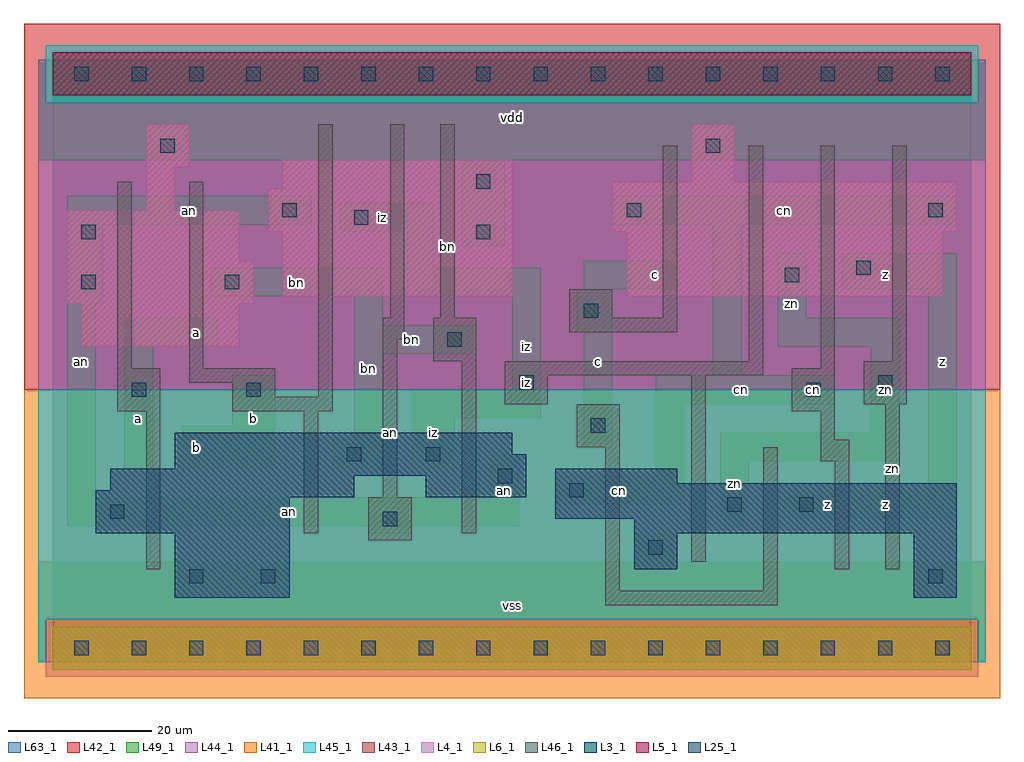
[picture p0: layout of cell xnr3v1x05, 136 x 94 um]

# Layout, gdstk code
import gdstk
lib = gdstk.Library(unit=1e-6, precision=1e-09)
def R(c, l, rs):  # rectangles x0, y0, x1, y1
    for r in rs: c.add(gdstk.rectangle(r[:2], r[2:], *l))
def A(c, l, x, y, w, h, nx, ny, dx, dy):  # array of equal rectangles
    R(c, l, [(x+i*dx, y+j*dy, x+i*dx+w, y+j*dy+h) for i in range(nx) for j in range(ny)])
L3_1 = (3, 1)
L4_1 = (4, 1)
L5_1 = (5, 1)
L6_1 = (6, 1)
L25_1 = (25, 1)
L41_1 = (41, 1)
L42_1 = (42, 1)
L43_1 = (43, 1)
L44_1 = (44, 1)
L45_1 = (45, 1)
L46_1 = (46, 1)
L49_1 = (49, 1)
L63_1 = (63, 1)

xnr3v1x05 = lib.new_cell('xnr3v1x05')
R(xnr3v1x05, L3_1, [(17,7,33,16), (120,7,126,16), (81,11,87,16), (6,16,33,21), (81,16,126,18), (70,18,126,23), (6,21,42,22), (52,21,66,24), (8,22,42,24), (70,23,87,25), (8,24,66,25), (17,25,66,27), (17,27,64,30)])
R(xnr3v1x05, L4_1, [(4,42,26,48), (2,48,28,54), (32,49,64,58), (80,49,124,58), (2,54,26,61), (30,58,64,64), (78,58,126,65), (13,61,17,67), (32,64,64,68), (89,65,95,73), (13,67,19,73)])
R(xnr3v1x05, L5_1, [(0,77,128,83)])
R(xnr3v1x05, L6_1, [(0,-3,128,3), (0,-3,128,3)])
A(xnr3v1x05, L25_1, 3, -1, 2, 2, 16, 2, 8, 80)
R(xnr3v1x05, L25_1, [(19,9,21,11), (29,9,31,11), (122,9,124,11), (83,13,85,15), (46,17,48,19), (8,18,10,20), (94,19,96,21), (104,19,106,21), (72,21,74,23), (62,23,64,25), (41,26,43,28), (52,26,54,28), (75,30,77,32), (11,35,13,37), (27,35,29,37), (105,35,107,37), (65,36,67,38), (115,36,117,38), (55,42,57,44), (74,46,76,48), (4,50,6,52), (24,50,26,52), (102,51,104,53), (112,52,114,54), (4,57,6,59), (59,57,61,59), (42,59,44,61), (32,60,34,62), (80,60,82,62), (122,60,124,62), (59,64,61,66), (15,69,17,71), (91,69,93,71)])
R(xnr3v1x05, L41_1, [(-4,-7,132,36)])
R(xnr3v1x05, L42_1, [(-4,36,132,87)])
R(xnr3v1x05, L43_1, [(0,-3,128,3), (17,7,33,16), (120,7,126,16), (81,11,87,16), (6,16,33,21), (81,16,126,18), (70,18,126,23), (6,21,42,22), (52,21,66,24), (8,22,42,24), (70,23,87,25), (8,24,66,25), (17,25,66,27), (17,27,64,30), (4,42,26,48), (2,48,28,54), (32,49,64,58), (80,49,124,58), (2,54,26,61), (30,58,64,64), (78,58,126,65), (13,61,17,67), (32,64,64,68), (89,65,95,73), (13,67,19,73), (0,77,128,83)])
R(xnr3v1x05, L44_1, [(-1,-4,129,4), (-2,36,130,76), (-2,76,-1,82), (129,76,130,82)])
R(xnr3v1x05, L45_1, [(-2,-2,-1,4), (129,-2,130,4), (-2,4,130,36), (-1,76,129,84)])
R(xnr3v1x05, L46_1, [(77,6,101,8), (77,8,79,28), (99,8,101,28), (13,11,15,33), (109,11,111,26), (116,11,118,34), (89,12,91,38), (44,15,50,21), (35,16,37,33), (57,16,59,40), (46,21,48,43), (107,26,111,29), (73,28,79,34), (107,29,109,33), (9,33,15,39), (25,33,39,35), (103,33,109,39), (63,34,69,38), (113,34,119,40), (25,35,31,37), (37,35,39,73), (19,37,31,39), (63,38,99,40), (9,39,11,65), (19,39,21,65), (107,39,109,70), (53,40,59,46), (97,40,99,70), (117,40,119,70), (46,43,49,46), (72,44,87,46), (47,46,49,73), (54,46,56,73), (72,46,78,50), (85,46,87,70)])
R(xnr3v1x05, L49_1, [(-2,-2,130,12), (81,12,87,16), (44,16,50,17), (2,17,65,21), (93,17,97,26), (102,18,126,22), (70,20,88,24), (2,21,6,48), (61,21,65,27), (122,22,126,50), (84,24,88,34), (10,25,14,42), (18,25,31,31), (39,25,46,29), (50,25,56,32), (93,26,118,30), (74,28,78,44), (42,29,46,41), (114,30,118,42), (25,31,31,38), (50,32,68,36), (84,34,109,38), (64,36,68,49), (92,38,96,59), (42,41,59,45), (10,42,23,46), (101,42,118,46), (73,44,78,50), (42,45,46,49), (101,46,105,55), (2,48,7,59), (22,49,46,53), (49,49,68,53), (74,50,87,54), (110,50,126,55), (49,53,53,58), (57,56,63,68), (40,58,53,62), (2,59,36,63), (78,59,126,63), (-2,68,130,82)])
R(xnr3v1x05, L63_1, [(0,0,128,80)])
xnr3v1x05.add(gdstk.Label('an', (47,30), layer=46, texttype=1))
xnr3v1x05.add(gdstk.Label('bn', (55,56), layer=46, texttype=1))
xnr3v1x05.add(gdstk.Label('iz', (66,37), layer=49, texttype=1))
xnr3v1x05.add(gdstk.Label('cn', (106,36), layer=49, texttype=1))
xnr3v1x05.add(gdstk.Label('zn', (117,25), layer=46, texttype=1))
xnr3v1x05.add(gdstk.Label('b', (20,28), layer=49, texttype=1))
xnr3v1x05.add(gdstk.Label('a', (12,32), layer=49, texttype=1))
xnr3v1x05.add(gdstk.Label('a', (20,44), layer=49, texttype=1))
xnr3v1x05.add(gdstk.Label('an', (4,40), layer=49, texttype=1))
xnr3v1x05.add(gdstk.Label('b', (28,32), layer=49, texttype=1))
xnr3v1x05.add(gdstk.Label('bn', (34,51), layer=49, texttype=1))
xnr3v1x05.add(gdstk.Label('bn', (44,39), layer=49, texttype=1))
xnr3v1x05.add(gdstk.Label('an', (19,61), layer=49, texttype=1))
xnr3v1x05.add(gdstk.Label('vss', (64,6), layer=49, texttype=1))
xnr3v1x05.add(gdstk.Label('an', (33,19), layer=49, texttype=1))
xnr3v1x05.add(gdstk.Label('an', (63,22), layer=49, texttype=1))
xnr3v1x05.add(gdstk.Label('iz', (53,30), layer=49, texttype=1))
xnr3v1x05.add(gdstk.Label('bn', (50,43), layer=49, texttype=1))
xnr3v1x05.add(gdstk.Label('iz', (66,42), layer=49, texttype=1))
xnr3v1x05.add(gdstk.Label('iz', (46,60), layer=49, texttype=1))
xnr3v1x05.add(gdstk.Label('vdd', (64,74), layer=49, texttype=1))
xnr3v1x05.add(gdstk.Label('cn', (79,22), layer=49, texttype=1))
xnr3v1x05.add(gdstk.Label('zn', (95,23), layer=49, texttype=1))
xnr3v1x05.add(gdstk.Label('c', (76,40), layer=49, texttype=1))
xnr3v1x05.add(gdstk.Label('c', (84,52), layer=49, texttype=1))
xnr3v1x05.add(gdstk.Label('z', (116,20), layer=49, texttype=1))
xnr3v1x05.add(gdstk.Label('z', (108,20), layer=49, texttype=1))
xnr3v1x05.add(gdstk.Label('zn', (116,36), layer=49, texttype=1))
xnr3v1x05.add(gdstk.Label('cn', (96,36), layer=49, texttype=1))
xnr3v1x05.add(gdstk.Label('z', (124,40), layer=49, texttype=1))
xnr3v1x05.add(gdstk.Label('z', (116,52), layer=49, texttype=1))
xnr3v1x05.add(gdstk.Label('zn', (103,48), layer=49, texttype=1))
xnr3v1x05.add(gdstk.Label('cn', (102,61), layer=49, texttype=1))

lib.write_gds('xnr3v1x05.gds')
